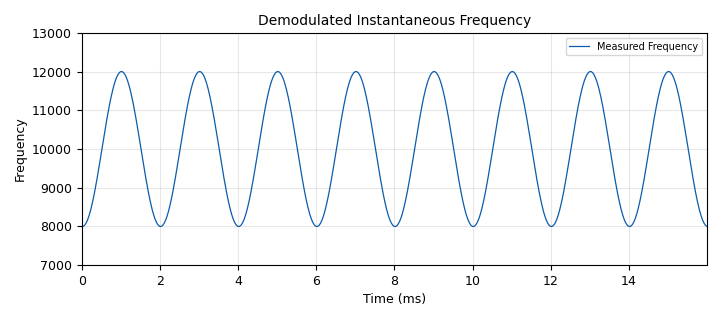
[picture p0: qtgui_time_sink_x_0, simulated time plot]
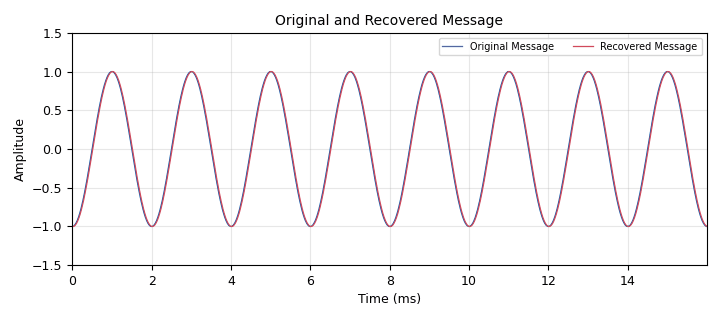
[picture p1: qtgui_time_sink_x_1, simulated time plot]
options:
  parameters:
    author: Dhrubjun
    generate_options: qt_gui
    id: exp4
    output_language: python
    title: Recovering the Message from FM
  states: {}

blocks:
- name: fc
  id: variable
  parameters:
    value: '10000'
  states: {}
- name: fm
  id: variable_qtgui_range
  parameters:
    label: |
      Message Frequency (Hz)
    start: '250'
    step: '250'
    stop: '2000'
    value: '500'
  states: {}
- name: freq_dev
  id: variable_qtgui_range
  parameters:
    label: Frequency Deviation (Hz)
    start: '0'
    step: '50'
    stop: '5000'
    value: '2000'
  states: {}
- name: samp_rate
  id: variable
  parameters:
    value: '64000'
  states: {}
- name: analog_quadrature_demod_cf_0
  id: analog_quadrature_demod_cf
  parameters:
    gain: samp_rate/(2*pi)
  states: {}
- name: analog_sig_source_x_0
  id: analog_sig_source_x
  parameters:
    amp: '1'
    freq: fm
    offset: '0'
    phase: '0'
    samp_rate: samp_rate
    type: float
    waveform: analog.GR_COS_WAVE
  states: {}
- name: blocks_add_const_vxx_0
  id: blocks_add_const_vxx
  parameters:
    const: fc
    type: float
  states: {}
- name: blocks_add_const_vxx_0_0
  id: blocks_add_const_vxx
  parameters:
    const: '-fc'
    type: float
  states: {}
- name: blocks_multiply_const_vxx_0
  id: blocks_multiply_const_vxx
  parameters:
    const: freq_dev
    type: float
  states: {}
- name: blocks_multiply_const_vxx_0_0
  id: blocks_multiply_const_vxx
  parameters:
    const: 1/freq_dev
    type: float
  states: {}
- name: blocks_throttle2_0
  id: blocks_throttle2
  parameters:
    samples_per_second: samp_rate
    type: complex
  states: {}
- name: blocks_vco_c_0
  id: blocks_vco_c
  parameters:
    amplitude: '1'
    samp_rate: samp_rate
    sensitivity: 2*pi
  states: {}
- name: import_0
  id: import
  parameters:
    imports: from math import pi
  states: {}
- name: qtgui_time_sink_x_0
  id: qtgui_time_sink_x
  parameters:
    label1: Measured Frequency
    name: Demodulated Instantaneous Frequency
    size: '1024'
    srate: samp_rate
    type: float
    ylabel: Frequency
    ymax: '13000'
    ymin: '7000'
    yunit: Hz
  states: {}
- name: qtgui_time_sink_x_1
  id: qtgui_time_sink_x
  parameters:
    label1: Original Message
    label2: Recovered Message
    name: Original and Recovered Message
    nconnections: '2'
    size: '1024'
    srate: samp_rate
    type: float
    ymax: '1.5'
    ymin: '-1.5'
  states: {}

connections:
- [analog_quadrature_demod_cf_0, '0', blocks_add_const_vxx_0_0, '0']
- [analog_quadrature_demod_cf_0, '0', qtgui_time_sink_x_0, '0']
- [analog_sig_source_x_0, '0', blocks_multiply_const_vxx_0, '0']
- [analog_sig_source_x_0, '0', qtgui_time_sink_x_1, '0']
- [blocks_add_const_vxx_0, '0', blocks_vco_c_0, '0']
- [blocks_add_const_vxx_0_0, '0', blocks_multiply_const_vxx_0_0, '0']
- [blocks_multiply_const_vxx_0, '0', blocks_add_const_vxx_0, '0']
- [blocks_multiply_const_vxx_0_0, '0', qtgui_time_sink_x_1, '1']
- [blocks_throttle2_0, '0', analog_quadrature_demod_cf_0, '0']
- [blocks_vco_c_0, '0', blocks_throttle2_0, '0']

metadata:
  file_format: 1
  grc_version: 3.10.12.0
